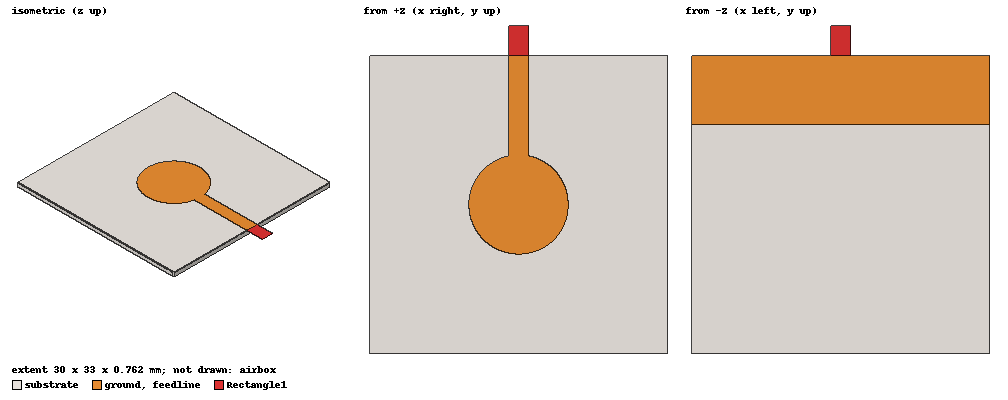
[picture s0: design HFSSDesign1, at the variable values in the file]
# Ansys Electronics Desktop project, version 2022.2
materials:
  vacuum: permittivity=1
  Rogers RT/duroid 5880 (tm): permittivity=2.2 dielectric_loss_tangent=0.0009
  air: permittivity=1.0006 permeability=1.0000004

design HFSSDesign1 (HFSS, DrivenModal, model units mm)
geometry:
  substrate [Rogers RT/duroid 5880 (tm)] = box(corner=(-15mm, -15mm, 0mm), size=(30mm, 30mm, 0.762mm))
  ground = rectangle(corner=(-15mm, 8mm, 0mm), x_size=30mm, y_size=7mm)
  patch = circle(normal=Z, centre=(0mm, 0mm, 0.762mm), radius=5mm)
  feedline = rectangle(corner=(-1mm, 4mm, 0.762mm), x_size=2mm, y_size=11mm)
  feedline.unite(patch)
  airbox [vacuum] = box(corner=(-30mm, -30mm, -5mm), size=(60mm, 60mm, 60mm))
  Rectangle1 = rectangle(corner=(1mm, 15mm, 0.762mm), x_size=-2mm, y_size=3mm)
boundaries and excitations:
  PerfE1: Perfect E Objects=ground
  PerfE2: Perfect E Objects=feedline
  Rad1: Radiation Objects=airbox
  1: Lumped Port Objects=Rectangle1 Modes{Mode1{IntLine{(0, 18, 0.762) -> (0, 15, 0.762)} CharImp=Zpi RenormImp=50ohm}} Impedance=50ohm
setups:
  Setup1: HfssDriven Frequency=4GHz MaxDeltaS=0.02 MaximumPasses=10 MinimumPasses=1 MinimumConvergedPasses=1 PercentRefinement=30 BasisOrder=1 PortAccuracy=2 DrivenSolverType="Direct Solver"
    sweep Sweep: 2GHz to 6GHz step 0.01GHz; Type=Fast SaveFields
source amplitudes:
  1:1: 1W 0deg
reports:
  S Parameter Plot 1: dB(S(1,1)) vs Freq on Setup1 : Sweep
  VSWR Plot 1: VSWR(1) vs Freq on Setup1 : Sweep
  S Parameter Plot 2: dB(S(1,1)) vs Freq, Freq on Setup1 : Sweep
  S Parameter Plot 3: dB(S(1,1)) vs Freq, Freq on Setup1 : Sweep
  Gamma Plot 1: im(Gamma(1)) vs Freq, Freq on Setup1 : Sweep
